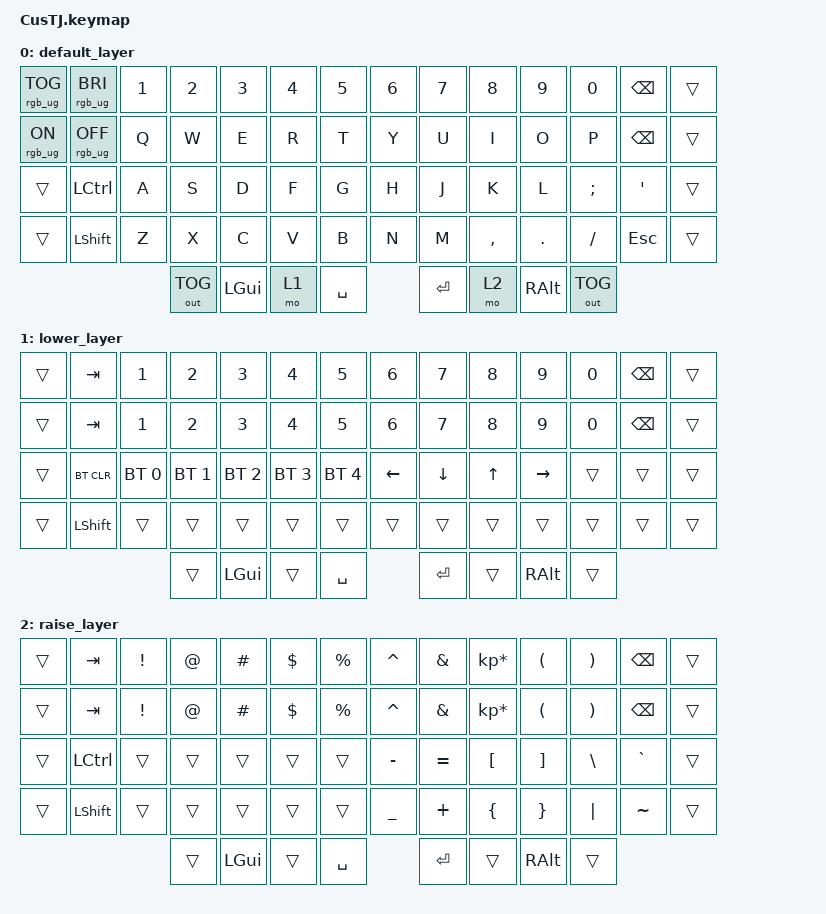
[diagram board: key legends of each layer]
/*
 * Copyright (c) 2020 The ZMK Contributors
 *
 * SPDX-License-Identifier: MIT
 */

#include <behaviors.dtsi>
#include <dt-bindings/zmk/keys.h>
#include <dt-bindings/zmk/bt.h>
#include <dt-bindings/zmk/rgb.h>
#include <dt-bindings/zmk/ext_power.h>
#include <dt-bindings/zmk/outputs.h>


/ {

        keymap {
                compatible = "zmk,keymap";

                default_layer {
// -----------------------------------------------------------------------------------------
// |  TAB |  1  |  2  |  3  |  4  |  5  |   |  6  |  7   |  8  |  9  |  0  | BKSP |
// |  TAB |  Q  |  W  |  E  |  R  |  T  |   |  Y  |  U   |  I  |  O  |  P  | BKSP |
// | CTRL |  A  |  S  |  D  |  F  |  G  |   |  H  |  J   |  K  |  L  |  ;  |  '   |
// | SHFT |  Z  |  X  |  C  |  V  |  B  |   |  N  |  M   |  ,  |  .  |  /  | ESC  |
//                    | GUI | LWR | SPC |   | ENT | RSE  | ALT |
                        bindings = <
   &rgb_ug RGB_TOG  &rgb_ug RGB_BRI   &kp N1 &kp N2 &kp N3 &kp N4 &kp N5         &kp N6 &kp N7 &kp N8    &kp N9  &kp N0   &kp BSPC  &trans
   &rgb_ug RGB_ON   &rgb_ug RGB_OFF   &kp Q  &kp W  &kp E  &kp R  &kp T          &kp Y  &kp U  &kp I     &kp O   &kp P    &kp BSPC  &trans
   &trans   &kp LCTRL &kp A  &kp S  &kp D  &kp F  &kp G          &kp H  &kp J  &kp K     &kp L   &kp SEMI &kp SQT   &trans
   &trans   &kp LSHFT &kp Z  &kp X  &kp C  &kp V  &kp B          &kp N  &kp M  &kp COMMA &kp DOT &kp FSLH &kp ESC   &trans
                  &out OUT_TOG &kp LGUI &mo 1 &kp SPACE          &kp RET &mo 2 &kp RALT   &out OUT_TOG
                        >;
                };
                lower_layer {
// -----------------------------------------------------------------------------------------
// |  TAB |  1  |  2  |  3  |  4  |  5  |   |  6  |  7  |  8  |  9  |  0  | BKSP |
// |  TAB |  1  |  2  |  3  |  4  |  5  |   |  6  |  7  |  8  |  9  |  0  | BKSP |
// | BTCLR| BT1 | BT2 | BT3 | BT4 | BT5 |   | LFT | DWN |  UP | RGT |     |      |
// | SHFT |     |     |     |     |     |   |     |     |     |     |     |      |
//                    | GUI |     | SPC |   | ENT |     | ALT |
                        bindings = <
   &trans   &kp TAB    &kp N1       &kp N2       &kp N3       &kp N4      &kp N5   &kp N6   &kp N7   &kp N8 &kp N9    &kp N0 &kp BSPC &trans
   &trans   &kp TAB    &kp N1       &kp N2       &kp N3       &kp N4      &kp N5   &kp N6   &kp N7   &kp N8 &kp N9    &kp N0 &kp BSPC &trans   
   &trans   &bt BT_CLR &bt BT_SEL 0 &bt BT_SEL 1 &bt BT_SEL 2 &bt BT_SEL 3 &bt BT_SEL 4  &kp LEFT &kp DOWN &kp UP &kp RIGHT &trans &trans &trans   
   &trans   &kp LSHFT  &trans       &trans       &trans       &trans       &trans        &trans   &trans   &trans &trans    &trans &trans &trans   
                          	    &trans       &kp LGUI     &trans       &kp SPACE      &kp RET  &trans   &kp RALT  &trans   
                        >;
                };

                raise_layer {
// -----------------------------------------------------------------------------------------
// |  TAB |  !  |  @  |  #  |  $  |  %  |   |  ^  |  &  |  *  |  (  |  )  | BKSP |
// |  TAB |  !  |  @  |  #  |  $  |  %  |   |  ^  |  &  |  *  |  (  |  )  | BKSP |
// | CTRL |     |     |     |     |     |   |  -  |  =  |  [  |  ]  |  \  |  `   |
// | SHFT |     |     |     |     |     |   |  _  |  +  |  {  |  }  | "|" |  ~   |
//                    | GUI |     | SPC |   | ENT |     | ALT |
                        bindings = <
   &trans &kp  TAB  &kp EXCL &kp AT &kp HASH &kp DLLR &kp PRCNT   &kp CARET &kp AMPS  &kp KP_MULTIPLY &kp LPAR &kp RPAR &kp BSPC &trans 
   &trans &kp  TAB  &kp EXCL &kp AT &kp HASH &kp DLLR &kp PRCNT   &kp CARET &kp AMPS  &kp KP_MULTIPLY &kp LPAR &kp RPAR &kp BSPC &trans 
   &trans &kp LCTRL &trans   &trans &trans   &trans   &trans      &kp MINUS &kp EQUAL &kp LBKT        &kp RBKT &kp BSLH &kp GRAVE &trans 
   &trans &kp LSHFT &trans   &trans &trans   &trans   &trans      &kp UNDER &kp PLUS  &kp LBRC        &kp RBRC &kp PIPE &kp TILDE &trans 
                    	 &trans   &kp LGUI &trans   &kp SPACE   &kp RET   &trans    &kp RALT &trans 
                        >;
                };
        };
};
